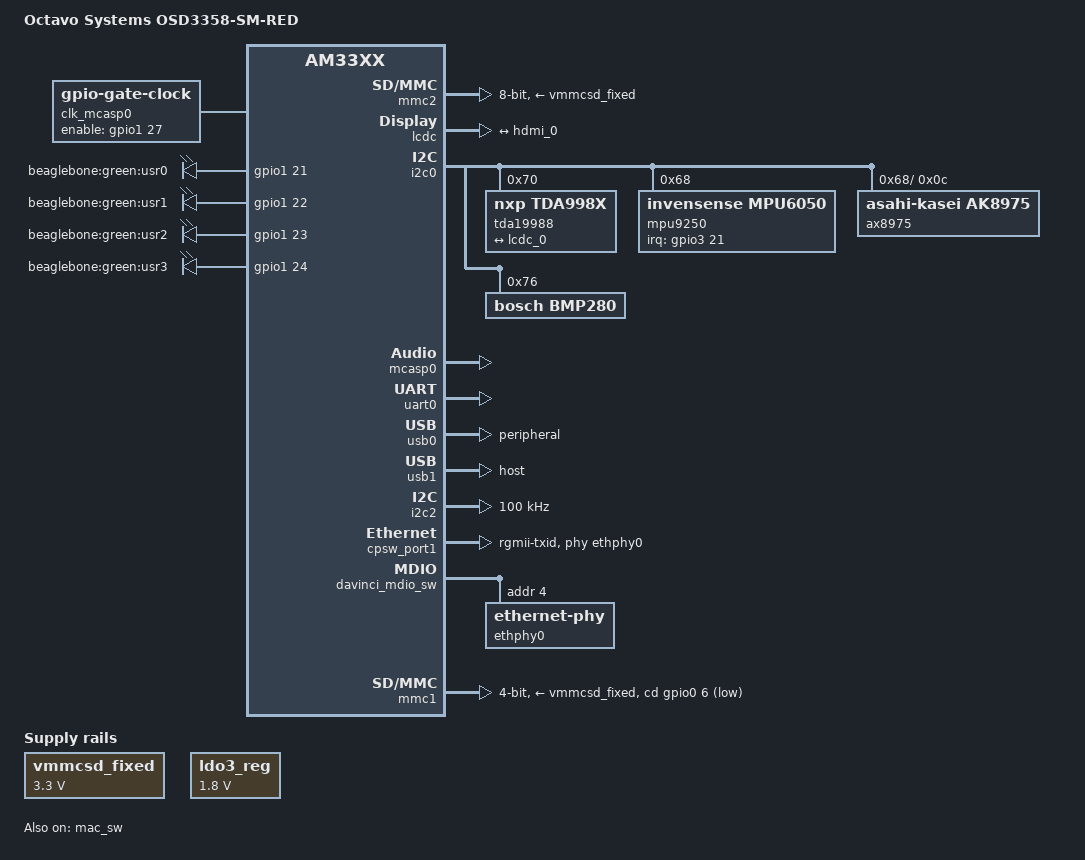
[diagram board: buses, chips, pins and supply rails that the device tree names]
//SPDX-License-Identifier: GPL-2.0
/* Copyright (C) 2018 Octavo Systems LLC - https://www.octavosystems.com/
 *
 * This program is free software; you can redistribute it and/or modify
 * it under the terms of the GNU General Public License version 2 as
 * published by the Free Software Foundation.
 */

/dts-v1/;

#include "am33xx.dtsi"
#include "am335x-osd335x-common.dtsi"
#include <dt-bindings/interrupt-controller/irq.h>

#include <dt-bindings/display/tda998x.h>

/ {
	model = "Octavo Systems OSD3358-SM-RED";
	compatible = "oct,osd3358-sm-refdesign", "ti,am335x-bone-black", "ti,am335x-bone", "ti,am33xx";
};

&ldo3_reg {
	regulator-min-microvolt = <1800000>;
	regulator-max-microvolt = <1800000>;
	regulator-always-on;
};

&mmc2 {
	vmmc-supply = <&vmmcsd_fixed>;
	pinctrl-names = "default";
	pinctrl-0 = <&emmc_pins>;
	bus-width = <8>;
	status = "okay";
};

&lcdc {
	status = "okay";

	/* If you want to get 24 bit RGB and 16 BGR mode instead of
	 * current 16 bit RGB and 24 BGR modes, set the propety
	 * below to "crossed" and uncomment the video-ports -property
	 * in tda19988 node.
	 * AM335x errata for wiring:
	 * https://www.ti.com/lit/er/sprz360i/sprz360i.pdf
	 */

	blue-and-red-wiring = "straight";

	port {
		lcdc_0: endpoint {
			remote-endpoint = <&hdmi_0>;
		};
	};
};

&i2c0 {
	tda19988: hdmi-encoder@70 {
		compatible = "nxp,tda998x";
		reg = <0x70>;

		pinctrl-names = "default", "off";
		pinctrl-0 = <&nxp_hdmi_bonelt_pins>;
		pinctrl-1 = <&nxp_hdmi_bonelt_off_pins>;

		/* Convert 24bit BGR to RGB, e.g. cross red and blue wiring */
		/* video-ports = <0x234501>; */

		#sound-dai-cells = <0>;
		audio-ports = <	TDA998x_I2S	0x03>;

		port {
			hdmi_0: endpoint {
				remote-endpoint = <&lcdc_0>;
			};
		};
	};

	mpu9250: imu@68 {
		compatible = "invensense,mpu6050";
		reg = <0x68>;
		interrupt-parent = <&gpio3>;
		interrupts = <21 IRQ_TYPE_EDGE_RISING>;
		i2c-gate {
			#address-cells = <1>;
			#size-cells = <0>;
			ax8975@c {
				compatible = "asahi-kasei,ak8975";
				reg = <0x0c>;
			};
		};
		/*invensense,int_config = <0x10>;
		invensense,level_shifter = <0>;
		invensense,orientation = [01 00 00 00 01 00 00 00 01];
		invensense,sec_slave_type = <0>;
		invensense,key = [4e cc 7e eb f6 1e 35 22 00 34 0d 65 32 e9 94 89];*/
	};

	bmp280: pressure@76 {
		compatible = "bosch,bmp280";
		reg = <0x76>;
	};
};

&mcasp0 {
	#sound-dai-cells = <0>;
	pinctrl-names = "default";
	pinctrl-0 = <&mcasp0_pins>;
	status = "okay";
	op-mode = <0>;	/* MCASP_IIS_MODE */
	tdm-slots = <2>;
	serial-dir = <	/* 0: INACTIVE, 1: TX, 2: RX */
			0 0 1 0
		>;
	tx-num-evt = <32>;
	rx-num-evt = <32>;
};

/ {
	clk_mcasp0_fixed: clk-mcasp0-fixed {
		#clock-cells = <0>;
		compatible = "fixed-clock";
		clock-frequency = <24576000>;
	};

	clk_mcasp0: clk-mcasp0 {
		#clock-cells = <0>;
		compatible = "gpio-gate-clock";
		clocks = <&clk_mcasp0_fixed>;
		enable-gpios = <&gpio1 27 0>; /* BeagleBone Black Clk enable on GPIO1_27 */
	};

	sound {
		compatible = "simple-audio-card";
		simple-audio-card,name = "TI BeagleBone Black";
		simple-audio-card,format = "i2s";
		simple-audio-card,bitclock-master = <&dailink0_master>;
		simple-audio-card,frame-master = <&dailink0_master>;

		dailink0_master: simple-audio-card,cpu {
			sound-dai = <&mcasp0>;
			clocks = <&clk_mcasp0>;
		};

		simple-audio-card,codec {
			sound-dai = <&tda19988>;
		};
	};

	chosen {
		stdout-path = &uart0;
	};

	leds {
		pinctrl-names = "default";
		pinctrl-0 = <&user_leds_s0>;

		compatible = "gpio-leds";

		led2 {
			label = "beaglebone:green:usr0";
			gpios = <&gpio1 21 GPIO_ACTIVE_HIGH>;
			linux,default-trigger = "heartbeat";
			default-state = "off";
		};

		led3 {
			label = "beaglebone:green:usr1";
			gpios = <&gpio1 22 GPIO_ACTIVE_HIGH>;
			linux,default-trigger = "mmc0";
			default-state = "off";
		};

		led4 {
			label = "beaglebone:green:usr2";
			gpios = <&gpio1 23 GPIO_ACTIVE_HIGH>;
			linux,default-trigger = "cpu0";
			default-state = "off";
		};

		led5 {
			label = "beaglebone:green:usr3";
			gpios = <&gpio1 24 GPIO_ACTIVE_HIGH>;
			linux,default-trigger = "mmc1";
			default-state = "off";
		};
	};

	vmmcsd_fixed: fixedregulator0 {
		compatible = "regulator-fixed";
		regulator-name = "vmmcsd_fixed";
		regulator-min-microvolt = <3300000>;
		regulator-max-microvolt = <3300000>;
	};
};

&am33xx_pinmux {
	pinctrl-names = "default";
	pinctrl-0 = <&clkout2_pin>;

	nxp_hdmi_bonelt_pins: nxp-hdmi-bonelt-pins {
		pinctrl-single,pins = <
			AM33XX_PADCONF(AM335X_PIN_XDMA_EVENT_INTR0, PIN_OUTPUT_PULLDOWN, MUX_MODE3)
			AM33XX_PADCONF(AM335X_PIN_LCD_DATA0, PIN_OUTPUT, MUX_MODE0)
			AM33XX_PADCONF(AM335X_PIN_LCD_DATA1, PIN_OUTPUT, MUX_MODE0)
			AM33XX_PADCONF(AM335X_PIN_LCD_DATA2, PIN_OUTPUT, MUX_MODE0)
			AM33XX_PADCONF(AM335X_PIN_LCD_DATA3, PIN_OUTPUT, MUX_MODE0)
			AM33XX_PADCONF(AM335X_PIN_LCD_DATA4, PIN_OUTPUT, MUX_MODE0)
			AM33XX_PADCONF(AM335X_PIN_LCD_DATA5, PIN_OUTPUT, MUX_MODE0)
			AM33XX_PADCONF(AM335X_PIN_LCD_DATA6, PIN_OUTPUT, MUX_MODE0)
			AM33XX_PADCONF(AM335X_PIN_LCD_DATA7, PIN_OUTPUT, MUX_MODE0)
			AM33XX_PADCONF(AM335X_PIN_LCD_DATA8, PIN_OUTPUT, MUX_MODE0)
			AM33XX_PADCONF(AM335X_PIN_LCD_DATA9, PIN_OUTPUT, MUX_MODE0)
			AM33XX_PADCONF(AM335X_PIN_LCD_DATA10, PIN_OUTPUT, MUX_MODE0)
			AM33XX_PADCONF(AM335X_PIN_LCD_DATA11, PIN_OUTPUT, MUX_MODE0)
			AM33XX_PADCONF(AM335X_PIN_LCD_DATA12, PIN_OUTPUT, MUX_MODE0)
			AM33XX_PADCONF(AM335X_PIN_LCD_DATA13, PIN_OUTPUT, MUX_MODE0)
			AM33XX_PADCONF(AM335X_PIN_LCD_DATA14, PIN_OUTPUT, MUX_MODE0)
			AM33XX_PADCONF(AM335X_PIN_LCD_DATA15, PIN_OUTPUT, MUX_MODE0)
			AM33XX_PADCONF(AM335X_PIN_LCD_VSYNC, PIN_OUTPUT_PULLDOWN, MUX_MODE0)
			AM33XX_PADCONF(AM335X_PIN_LCD_HSYNC, PIN_OUTPUT_PULLDOWN, MUX_MODE0)
			AM33XX_PADCONF(AM335X_PIN_LCD_PCLK, PIN_OUTPUT_PULLDOWN, MUX_MODE0)
			AM33XX_PADCONF(AM335X_PIN_LCD_AC_BIAS_EN, PIN_OUTPUT_PULLDOWN, MUX_MODE0)
		>;
	};

	nxp_hdmi_bonelt_off_pins: nxp-hdmi-bonelt-off-pins {
		pinctrl-single,pins = <
			AM33XX_PADCONF(AM335X_PIN_XDMA_EVENT_INTR0, PIN_OUTPUT_PULLDOWN, MUX_MODE3)
		>;
	};

	mcasp0_pins: mcasp0-pins {
		pinctrl-single,pins = <
			AM33XX_PADCONF(AM335X_PIN_MCASP0_AHCLKX, PIN_INPUT_PULLUP, MUX_MODE0)
			AM33XX_PADCONF(AM335X_PIN_MCASP0_AHCLKR, PIN_OUTPUT_PULLDOWN, MUX_MODE2) /* mcasp0_ahclkr.mcasp0_axr2*/
			AM33XX_PADCONF(AM335X_PIN_MCASP0_FSX, PIN_OUTPUT_PULLUP, MUX_MODE0)
			AM33XX_PADCONF(AM335X_PIN_MCASP0_ACLKX, PIN_OUTPUT_PULLDOWN, MUX_MODE0)
			AM33XX_PADCONF(AM335X_PIN_GPMC_A11, PIN_OUTPUT_PULLDOWN, MUX_MODE7) /* gpmc_a11.GPIO1_27 */
		>;
	};

	flash_enable: flash-enable-pins {
		pinctrl-single,pins = <
			AM33XX_PADCONF(AM335X_PIN_RMII1_REF_CLK, PIN_OUTPUT_PULLDOWN, MUX_MODE7)	/* rmii1_ref_clk.gpio0_29 */
		>;
	};

	imu_interrupt: imu-interrupt-pins {
		pinctrl-single,pins = <
			AM33XX_PADCONF(AM335X_PIN_MII1_RX_ER, PIN_INPUT_PULLDOWN, MUX_MODE7)	/* mii1_rx_er.gpio3_2 */
		>;
	};

	ethernet_interrupt: ethernet-interrupt-pins {
		pinctrl-single,pins = <
			AM33XX_PADCONF(AM335X_PIN_MII1_COL, PIN_INPUT_PULLDOWN, MUX_MODE7)	/* mii1_col.gpio3_0 */
		>;
	};

	user_leds_s0: user-leds-s0-pins {
		pinctrl-single,pins = <
			AM33XX_PADCONF(AM335X_PIN_GPMC_A5, PIN_OUTPUT_PULLDOWN, MUX_MODE7)	/* gpmc_a5.gpio1_21 */
			AM33XX_PADCONF(AM335X_PIN_GPMC_A6, PIN_OUTPUT_PULLUP, MUX_MODE7)	/* gpmc_a6.gpio1_22 */
			AM33XX_PADCONF(AM335X_PIN_GPMC_A7, PIN_OUTPUT_PULLDOWN, MUX_MODE7)	/* gpmc_a7.gpio1_23 */
			AM33XX_PADCONF(AM335X_PIN_GPMC_A8, PIN_OUTPUT_PULLUP, MUX_MODE7)	/* gpmc_a8.gpio1_24 */
		>;
	};

	i2c2_pins: pinmux-i2c2-pins {
		pinctrl-single,pins = <
			AM33XX_PADCONF(AM335X_PIN_UART1_CTSN, PIN_INPUT_PULLUP, MUX_MODE3)	/* uart1_ctsn.i2c2_sda */
			AM33XX_PADCONF(AM335X_PIN_UART1_RTSN, PIN_INPUT_PULLUP, MUX_MODE3)	/* uart1_rtsn.i2c2_scl */
		>;
	};

	uart0_pins: pinmux-uart0-pins {
		pinctrl-single,pins = <
			AM33XX_PADCONF(AM335X_PIN_UART0_RXD, PIN_INPUT_PULLUP, MUX_MODE0)
			AM33XX_PADCONF(AM335X_PIN_UART0_TXD, PIN_OUTPUT_PULLDOWN, MUX_MODE0)
		>;
	};

	clkout2_pin: pinmux-clkout2-pins {
		pinctrl-single,pins = <
			AM33XX_PADCONF(AM335X_PIN_XDMA_EVENT_INTR1, PIN_OUTPUT_PULLDOWN, MUX_MODE3)	/* xdma_event_intr1.clkout2 */
		>;
	};

	cpsw_default: cpsw-default-pins {
		pinctrl-single,pins = <
			/* Slave 1 */
			AM33XX_PADCONF(AM335X_PIN_MII1_TX_EN, PIN_OUTPUT_PULLDOWN, MUX_MODE2)	/* mii1_txen.rgmii1_tctl */
			AM33XX_PADCONF(AM335X_PIN_MII1_RX_DV, PIN_INPUT_PULLDOWN, MUX_MODE2)		/* mii1_rxdv.rgmii1_rctl */
			AM33XX_PADCONF(AM335X_PIN_MII1_TXD3, PIN_OUTPUT_PULLDOWN, MUX_MODE2)
			AM33XX_PADCONF(AM335X_PIN_MII1_TXD2, PIN_OUTPUT_PULLDOWN, MUX_MODE2)
			AM33XX_PADCONF(AM335X_PIN_MII1_TXD1, PIN_OUTPUT_PULLDOWN, MUX_MODE2)
			AM33XX_PADCONF(AM335X_PIN_MII1_TXD0, PIN_OUTPUT_PULLDOWN, MUX_MODE2)
			AM33XX_PADCONF(AM335X_PIN_MII1_TX_CLK, PIN_OUTPUT_PULLDOWN, MUX_MODE2)
			AM33XX_PADCONF(AM335X_PIN_MII1_RX_CLK, PIN_INPUT_PULLDOWN, MUX_MODE2)
			AM33XX_PADCONF(AM335X_PIN_MII1_RXD3, PIN_INPUT_PULLDOWN, MUX_MODE2)
			AM33XX_PADCONF(AM335X_PIN_MII1_RXD2, PIN_INPUT_PULLDOWN, MUX_MODE2)
			AM33XX_PADCONF(AM335X_PIN_MII1_RXD1, PIN_INPUT_PULLDOWN, MUX_MODE2)
			AM33XX_PADCONF(AM335X_PIN_MII1_RXD0, PIN_INPUT_PULLDOWN, MUX_MODE2)
		>;
	};

	cpsw_sleep: cpsw-sleep-pins {
		pinctrl-single,pins = <
			/* Slave 1 reset value */
			AM33XX_PADCONF(AM335X_PIN_MII1_TX_EN, PIN_INPUT_PULLDOWN, MUX_MODE7)
			AM33XX_PADCONF(AM335X_PIN_MII1_RX_DV, PIN_INPUT_PULLDOWN, MUX_MODE7)
			AM33XX_PADCONF(AM335X_PIN_MII1_TXD3, PIN_INPUT_PULLDOWN, MUX_MODE7)
			AM33XX_PADCONF(AM335X_PIN_MII1_TXD2, PIN_INPUT_PULLDOWN, MUX_MODE7)
			AM33XX_PADCONF(AM335X_PIN_MII1_TXD1, PIN_INPUT_PULLDOWN, MUX_MODE7)
			AM33XX_PADCONF(AM335X_PIN_MII1_TXD0, PIN_INPUT_PULLDOWN, MUX_MODE7)
			AM33XX_PADCONF(AM335X_PIN_MII1_TX_CLK, PIN_INPUT_PULLDOWN, MUX_MODE7)
			AM33XX_PADCONF(AM335X_PIN_MII1_RX_CLK, PIN_INPUT_PULLDOWN, MUX_MODE7)
			AM33XX_PADCONF(AM335X_PIN_MII1_RXD3, PIN_INPUT_PULLDOWN, MUX_MODE7)
			AM33XX_PADCONF(AM335X_PIN_MII1_RXD2, PIN_INPUT_PULLDOWN, MUX_MODE7)
			AM33XX_PADCONF(AM335X_PIN_MII1_RXD1, PIN_INPUT_PULLDOWN, MUX_MODE7)
			AM33XX_PADCONF(AM335X_PIN_MII1_RXD0, PIN_INPUT_PULLDOWN, MUX_MODE7)
		>;
	};

	davinci_mdio_default: davinci-mdio-default-pins {
		pinctrl-single,pins = <
			/* MDIO */
			AM33XX_PADCONF(AM335X_PIN_MDIO, PIN_INPUT_PULLUP | SLEWCTRL_FAST, MUX_MODE0)
			AM33XX_PADCONF(AM335X_PIN_MDC, PIN_OUTPUT_PULLUP, MUX_MODE0)
		>;
	};

	davinci_mdio_sleep: davinci-mdio-sleep-pins {
		pinctrl-single,pins = <
			/* MDIO reset value */
			AM33XX_PADCONF(AM335X_PIN_MDIO, PIN_INPUT_PULLDOWN, MUX_MODE7)
			AM33XX_PADCONF(AM335X_PIN_MDC, PIN_INPUT_PULLDOWN, MUX_MODE7)
		>;
	};

	mmc1_pins: pinmux-mmc1-pins {
		pinctrl-single,pins = <
			AM33XX_PADCONF(AM335X_PIN_SPI0_CS1, PIN_INPUT, MUX_MODE7) /* (C15) spi0_cs1.gpio0[6] */
			AM33XX_PADCONF(AM335X_PIN_MMC0_DAT0, PIN_INPUT_PULLUP, MUX_MODE0)
			AM33XX_PADCONF(AM335X_PIN_MMC0_DAT1, PIN_INPUT_PULLUP, MUX_MODE0)
			AM33XX_PADCONF(AM335X_PIN_MMC0_DAT2, PIN_INPUT_PULLUP, MUX_MODE0)
			AM33XX_PADCONF(AM335X_PIN_MMC0_DAT3, PIN_INPUT_PULLUP, MUX_MODE0)
			AM33XX_PADCONF(AM335X_PIN_MMC0_CMD, PIN_INPUT_PULLUP, MUX_MODE0)
			AM33XX_PADCONF(AM335X_PIN_MMC0_CLK, PIN_INPUT_PULLUP, MUX_MODE0)
		>;
	};

	emmc_pins: pinmux-emmc-pins {
		pinctrl-single,pins = <
			AM33XX_PADCONF(AM335X_PIN_GPMC_CSN1, PIN_INPUT_PULLUP, MUX_MODE2) /* gpmc_csn1.mmc1_clk */
			AM33XX_PADCONF(AM335X_PIN_GPMC_CSN2, PIN_INPUT_PULLUP, MUX_MODE2) /* gpmc_csn2.mmc1_cmd */
			AM33XX_PADCONF(AM335X_PIN_GPMC_AD0, PIN_INPUT_PULLUP, MUX_MODE1) /* gpmc_ad0.mmc1_dat0 */
			AM33XX_PADCONF(AM335X_PIN_GPMC_AD1, PIN_INPUT_PULLUP, MUX_MODE1) /* gpmc_ad1.mmc1_dat1 */
			AM33XX_PADCONF(AM335X_PIN_GPMC_AD2, PIN_INPUT_PULLUP, MUX_MODE1) /* gpmc_ad2.mmc1_dat2 */
			AM33XX_PADCONF(AM335X_PIN_GPMC_AD3, PIN_INPUT_PULLUP, MUX_MODE1) /* gpmc_ad3.mmc1_dat3 */
			AM33XX_PADCONF(AM335X_PIN_GPMC_AD4, PIN_INPUT_PULLUP, MUX_MODE1) /* gpmc_ad4.mmc1_dat4 */
			AM33XX_PADCONF(AM335X_PIN_GPMC_AD5, PIN_INPUT_PULLUP, MUX_MODE1) /* gpmc_ad5.mmc1_dat5 */
			AM33XX_PADCONF(AM335X_PIN_GPMC_AD6, PIN_INPUT_PULLUP, MUX_MODE1) /* gpmc_ad6.mmc1_dat6 */
			AM33XX_PADCONF(AM335X_PIN_GPMC_AD7, PIN_INPUT_PULLUP, MUX_MODE1) /* gpmc_ad7.mmc1_dat7 */
		>;
	};
};


&uart0 {
	pinctrl-names = "default";
	pinctrl-0 = <&uart0_pins>;

	status = "okay";
};

&usb0 {
	dr_mode = "peripheral";
	interrupts-extended = <&intc 18 &tps 0>;
	interrupt-names = "mc", "vbus";
};

&usb1 {
	dr_mode = "host";
};

&i2c2 {
	pinctrl-names = "default";
	pinctrl-0 = <&i2c2_pins>;
	status = "okay";
	clock-frequency = <100000>;
};

&cpsw_port1 {
	phy-handle = <&ethphy0>;
	phy-mode = "rgmii-txid";
	ti,dual-emac-pvid = <1>;
};

&cpsw_port2 {
	status = "disabled";
};

&mac_sw {
	pinctrl-names = "default", "sleep";
	pinctrl-0 = <&cpsw_default>;
	pinctrl-1 = <&cpsw_sleep>;
	status = "okay";
};

&davinci_mdio_sw {
	pinctrl-names = "default", "sleep";
	pinctrl-0 = <&davinci_mdio_default>;
	pinctrl-1 = <&davinci_mdio_sleep>;

	ethphy0: ethernet-phy@4 {
		reg = <4>;
	};
};

&mmc1 {
	status = "okay";
	vmmc-supply = <&vmmcsd_fixed>;
	bus-width = <0x4>;
	pinctrl-names = "default";
	pinctrl-0 = <&mmc1_pins>;
	cd-gpios = <&gpio0 6 GPIO_ACTIVE_LOW>;
};

&rtc {
	system-power-controller;
	clocks = <&clk_32768_ck>, <&clk_24mhz_clkctrl AM3_CLK_24MHZ_CLKDIV32K_CLKCTRL 0>;
	clock-names = "ext-clk", "int-clk";
};
